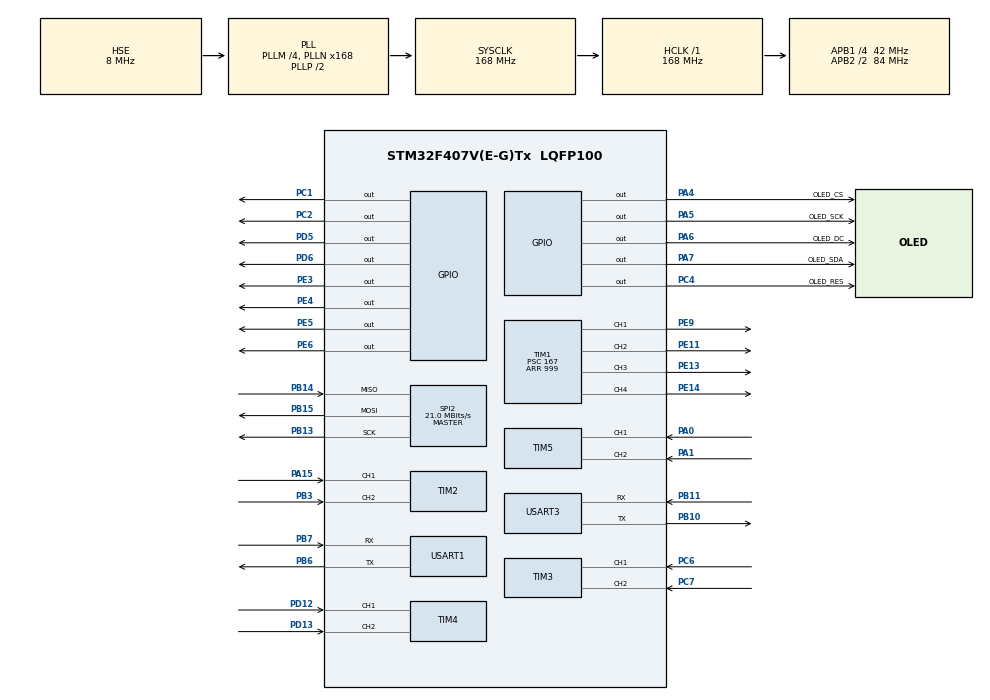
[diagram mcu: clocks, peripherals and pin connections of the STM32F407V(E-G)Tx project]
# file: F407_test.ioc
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Mcu.Family=STM32F4
Mcu.Name=STM32F407V(E-G)Tx
Mcu.Package=LQFP100
NVIC.PriorityGroup=NVIC_PRIORITYGROUP_4
NVIC.TIM6_DAC_IRQn=true\:10\:0\:true\:false\:true\:true\:true\:true
NVIC.TIM7_IRQn=true\:10\:0\:true\:false\:true\:true\:true\:true
NVIC.TIM8_TRG_COM_TIM14_IRQn=true\:15\:0\:false\:false\:true\:false\:true\:true
NVIC.TimeBase=TIM8_TRG_COM_TIM14_IRQn
NVIC.TimeBaseIP=TIM14
PA0-WKUP.Signal=S_TIM5_CH1
PA1.Signal=S_TIM5_CH2
PA13.Mode=Serial_Wire
PA13.Signal=SYS_JTMS-SWDIO
PA14.Mode=Serial_Wire
PA14.Signal=SYS_JTCK-SWCLK
PA15.Signal=S_TIM2_CH1_ETR
PA4.GPIO_Label=OLED_CS
PA4.Signal=GPIO_Output
PA5.GPIO_Label=OLED_SCK
PA5.Signal=GPIO_Output
PA6.GPIO_Label=OLED_DC
PA6.Signal=GPIO_Output
PA7.GPIO_Label=OLED_SDA
PA7.Signal=GPIO_Output
PB10.Mode=Asynchronous
PB10.Signal=USART3_TX
PB11.Mode=Asynchronous
PB11.Signal=USART3_RX
PB13.Mode=Full_Duplex_Master
PB13.Signal=SPI2_SCK
PB14.Mode=Full_Duplex_Master
PB14.Signal=SPI2_MISO
PB15.Mode=Full_Duplex_Master
PB15.Signal=SPI2_MOSI
PB3.Signal=S_TIM2_CH2
PB6.Mode=Asynchronous
PB6.Signal=USART1_TX
PB7.Mode=Asynchronous
PB7.Signal=USART1_RX
PC1.Signal=GPIO_Output
PC14-OSC32_IN.Mode=LSE-External-Oscillator
PC14-OSC32_IN.Signal=RCC_OSC32_IN
PC15-OSC32_OUT.Mode=LSE-External-Oscillator
PC15-OSC32_OUT.Signal=RCC_OSC32_OUT
PC2.Signal=GPIO_Output
PC4.GPIO_Label=OLED_RES
PC4.Signal=GPIO_Output
PC6.Signal=S_TIM3_CH1
PC7.Signal=S_TIM3_CH2
PD12.Signal=S_TIM4_CH1
PD13.Signal=S_TIM4_CH2
PD5.Signal=GPIO_Output
PD6.Signal=GPIO_Output
PE11.Signal=S_TIM1_CH2
PE13.Signal=S_TIM1_CH3
PE14.Signal=S_TIM1_CH4
PE3.Signal=GPIO_Output
PE4.Signal=GPIO_Output
PE5.Signal=GPIO_Output
PE6.Signal=GPIO_Output
PE9.Signal=S_TIM1_CH1
PH0-OSC_IN.Mode=HSE-External-Oscillator
PH0-OSC_IN.Signal=RCC_OSC_IN
PH1-OSC_OUT.Mode=HSE-External-Oscillator
PH1-OSC_OUT.Signal=RCC_OSC_OUT
ProjectManager.HeapSize=0x200
ProjectManager.StackSize=0x400
ProjectManager.TargetToolchain=MDK-ARM V5.32
RCC.48MHZClocksFreq_Value=84000000
RCC.AHBFreq_Value=168000000
RCC.APB1CLKDivider=RCC_HCLK_DIV4
RCC.APB1Freq_Value=42000000
RCC.APB1TimFreq_Value=84000000
RCC.APB2CLKDivider=RCC_HCLK_DIV2
RCC.APB2Freq_Value=84000000
RCC.APB2TimFreq_Value=168000000
RCC.CortexFreq_Value=168000000
RCC.HCLKFreq_Value=168000000
RCC.HSE_VALUE=8000000
RCC.HSI_VALUE=16000000
RCC.PLLM=4
RCC.PLLN=168
RCC.PLLSourceVirtual=RCC_PLLSOURCE_HSE
RCC.SYSCLKFreq_VALUE=168000000
RCC.SYSCLKSource=RCC_SYSCLKSOURCE_PLLCLK
RCC.VCOOutputFreq_Value=336000000
SH.S_TIM1_CH1.0=TIM1_CH1,PWM Generation1 CH1
SH.S_TIM1_CH2.0=TIM1_CH2,PWM Generation2 CH2
SH.S_TIM1_CH3.0=TIM1_CH3,PWM Generation3 CH3
SH.S_TIM1_CH4.0=TIM1_CH4,PWM Generation4 CH4
SH.S_TIM2_CH1_ETR.0=TIM2_CH1,Encoder_Interface
SH.S_TIM2_CH2.0=TIM2_CH2,Encoder_Interface
SH.S_TIM3_CH1.0=TIM3_CH1,Encoder_Interface
SH.S_TIM3_CH2.0=TIM3_CH2,Encoder_Interface
SH.S_TIM4_CH1.0=TIM4_CH1,Encoder_Interface
SH.S_TIM4_CH2.0=TIM4_CH2,Encoder_Interface
SH.S_TIM5_CH1.0=TIM5_CH1,Encoder_Interface
SH.S_TIM5_CH2.0=TIM5_CH2,Encoder_Interface
SPI2.CalculateBaudRate=21.0 MBits/s
SPI2.Direction=SPI_DIRECTION_2LINES
SPI2.Mode=SPI_MODE_MASTER
SPI2.VirtualType=VM_MASTER
TIM1.Channel-PWM\ Generation1\ CH1=TIM_CHANNEL_1
TIM1.Channel-PWM\ Generation2\ CH2=TIM_CHANNEL_2
TIM1.Channel-PWM\ Generation3\ CH3=TIM_CHANNEL_3
TIM1.Channel-PWM\ Generation4\ CH4=TIM_CHANNEL_4
TIM1.Period=999
TIM1.Prescaler=167
TIM2.EncoderMode=TIM_ENCODERMODE_TI12
TIM4.EncoderMode=TIM_ENCODERMODE_TI12
TIM6.Period=999
TIM6.Prescaler=167
TIM7.Period=9999
TIM7.Prescaler=167
USART1.VirtualMode=VM_ASYNC
USART3.VirtualMode=VM_ASYNC
VP_SYS_VS_tim14.Mode=TIM14
VP_TIM6_VS_ClockSourceINT.Mode=Enable_Timer
VP_TIM7_VS_ClockSourceINT.Mode=Enable_Timer
board=custom

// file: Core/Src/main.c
/* USER CODE BEGIN Header */
/**
 ******************************************************************************
 * @file           : main.c
 * @brief          : Main program body
 ******************************************************************************
 * @attention
 *
 * Copyright (c) 2024 STMicroelectronics.
 * All rights reserved.
 *
 * This software is licensed under terms that can be found in the LICENSE file
 * in the root directory of this software component.
 * If no LICENSE file comes with this software, it is provided AS-IS.
 *
 ******************************************************************************
 */
/* USER CODE END Header */
#include "main.h"
#include "spi.h"
#include "tim.h"
#include "usart.h"
#include "gpio.h"

/* USER CODE BEGIN Includes */
#include "oled.h"
#include "math.h"
/* USER CODE END Includes */

void SystemClock_Config(void);

/* USER CODE BEGIN 0 */
float a[4][11]={0};
/* USER CODE END 0 */

int main(void)
{

  /* MCU Configuration--------------------------------------------------------*/

  /* Reset of all peripherals, Initializes the Flash interface and the Systick. */
  HAL_Init();

  /* Configure the system clock */
  SystemClock_Config();

  /* Initialize all configured peripherals */
  MX_GPIO_Init();
  MX_TIM1_Init();
  MX_TIM2_Init();
  MX_TIM4_Init();
  MX_TIM6_Init();
  MX_TIM7_Init();
  MX_TIM5_Init();
  MX_TIM3_Init();
  MX_SPI2_Init();
  MX_USART1_UART_Init();
  MX_USART3_UART_Init();
  /* USER CODE BEGIN 2 */
  uint8_t Data[16];
//  HAL_TIM_PWM_Start(&htim1, TIM_CHANNEL_1);
//  HAL_TIM_Encoder_Start(&htim2, TIM_CHANNEL_ALL);
//  HAL_TIM_PWM_Start(&htim1, TIM_CHANNEL_2);
//  HAL_TIM_Encoder_Start(&htim5, TIM_CHANNEL_ALL);
//  HAL_TIM_PWM_Start(&htim1, TIM_CHANNEL_3);
//  HAL_TIM_Encoder_Start(&htim4, TIM_CHANNEL_ALL);
//  HAL_TIM_PWM_Start(&htim1, TIM_CHANNEL_4);
//  HAL_TIM_Encoder_Start(&htim3, TIM_CHANNEL_ALL);
//  __HAL_TIM_SetCompare(&htim1, TIM_CHANNEL_1, 200);
//  __HAL_TIM_SetCompare(&htim1, TIM_CHANNEL_2, 200);
//  __HAL_TIM_SetCompare(&htim1, TIM_CHANNEL_3, 200);
//  __HAL_TIM_SetCompare(&htim1, TIM_CHANNEL_4, 200);
//  HAL_GPIO_WritePin(GPIOD, GPIO_PIN_6, GPIO_PIN_RESET);
//  HAL_GPIO_WritePin(GPIOD, GPIO_PIN_5, GPIO_PIN_SET);
//  HAL_GPIO_WritePin(GPIOC, GPIO_PIN_1, GPIO_PIN_SET);
//  HAL_GPIO_WritePin(GPIOC, GPIO_PIN_2, GPIO_PIN_RESET);
//  HAL_GPIO_WritePin(GPIOE, GPIO_PIN_6, GPIO_PIN_RESET);
//  HAL_GPIO_WritePin(GPIOE, GPIO_PIN_5, GPIO_PIN_SET);
//  HAL_GPIO_WritePin(GPIOE, GPIO_PIN_3, GPIO_PIN_SET);
//  HAL_GPIO_WritePin(GPIOE, GPIO_PIN_4, GPIO_PIN_RESET);
//  HAL_TIM_Base_Start_IT(&htim6);
//  HAL_TIM_Base_Start_IT(&htim7);
//	OLED_Init();	 //OLED初始化
//	OLED_Clear();//清屏
//	char t=' ';
  /* USER CODE END 2 */

  /* Infinite loop */
  /* USER CODE BEGIN WHILE */
  while (1)
  {
	  HAL_UART_Receive(&huart3,Data,8,1000);
	  HAL_UART_Transmit(&huart1,Data,8,1000);
//	  OLED_Clear();
//	  OLED_ShowCHinese(18,0,0);
//	  OLED_ShowCHinese(36,0,1);
//	  OLED_ShowCHinese(54,0,2);
//	  OLED_ShowCHinese(72,0,3);
//	  OLED_ShowCHinese(90,0,4);
//		OLED_ShowString(6,3,"0.96 '  OLED TEST");
//		OLED_ShowString(0,6,"ASCII:");
//		OLED_ShowString(63,6,"CODE:");
//		OLED_ShowChar(48,6,t);//显示字符
//		t++;
//		if(t>'~')t=' ';
//		OLED_ShowNum(103,6,t,3,16);//显示数字
//		HAL_Delay(2000);

    /* USER CODE END WHILE */

  }
}

void SystemClock_Config(void)
{
  RCC_OscInitTypeDef RCC_OscInitStruct = {0};
  RCC_ClkInitTypeDef RCC_ClkInitStruct = {0};

  /** Configure the main internal regulator output voltage
  */
  __HAL_RCC_PWR_CLK_ENABLE();
  __HAL_PWR_VOLTAGESCALING_CONFIG(PWR_REGULATOR_VOLTAGE_SCALE1);

  /** Initializes the RCC Oscillators according to the specified parameters
  * in the RCC_OscInitTypeDef structure.
  */
  RCC_OscInitStruct.OscillatorType = RCC_OSCILLATORTYPE_HSE;
  RCC_OscInitStruct.HSEState = RCC_HSE_ON;
  RCC_OscInitStruct.PLL.PLLState = RCC_PLL_ON;
  RCC_OscInitStruct.PLL.PLLSource = RCC_PLLSOURCE_HSE;
  RCC_OscInitStruct.PLL.PLLM = 4;
  RCC_OscInitStruct.PLL.PLLN = 168;
  RCC_OscInitStruct.PLL.PLLP = RCC_PLLP_DIV2;
  RCC_OscInitStruct.PLL.PLLQ = 4;
  if (HAL_RCC_OscConfig(&RCC_OscInitStruct) != HAL_OK)
  {
    Error_Handler();
  }

  /** Initializes the CPU, AHB and APB buses clocks
  */
  RCC_ClkInitStruct.ClockType = RCC_CLOCKTYPE_HCLK|RCC_CLOCKTYPE_SYSCLK
                              |RCC_CLOCKTYPE_PCLK1|RCC_CLOCKTYPE_PCLK2;
  RCC_ClkInitStruct.SYSCLKSource = RCC_SYSCLKSOURCE_PLLCLK;
  RCC_ClkInitStruct.AHBCLKDivider = RCC_SYSCLK_DIV1;
  RCC_ClkInitStruct.APB1CLKDivider = RCC_HCLK_DIV4;
  RCC_ClkInitStruct.APB2CLKDivider = RCC_HCLK_DIV2;

  if (HAL_RCC_ClockConfig(&RCC_ClkInitStruct, FLASH_LATENCY_5) != HAL_OK)
  {
    Error_Handler();
  }
}

void HAL_TIM_PeriodElapsedCallback(TIM_HandleTypeDef *htim)
{
  /* USER CODE BEGIN Callback 0 */
  if (htim == &htim6)
  {
	  Mean_filtering(a[0]);
        a[0][0] = (float)__HAL_TIM_GET_COUNTER(&htim2);
        __HAL_TIM_SET_COUNTER(&htim2, 0);

        Mean_filtering(a[1]);
        a[1][0] = (float)__HAL_TIM_GET_COUNTER(&htim3);
        __HAL_TIM_SET_COUNTER(&htim3, 0);

        Mean_filtering(a[2]);
        a[2][0] = (float)__HAL_TIM_GET_COUNTER(&htim4);
        __HAL_TIM_SET_COUNTER(&htim4, 0);

        Mean_filtering(a[3]);
        a[3][0] = (float)__HAL_TIM_GET_COUNTER(&htim5);
        __HAL_TIM_SET_COUNTER(&htim5, 0);
  }
  /* USER CODE END Callback 0 */
  if (htim->Instance == TIM14) {
    HAL_IncTick();
  }
}

void Error_Handler(void)
{
  __disable_irq();
  while (1)
  {
  }
}
